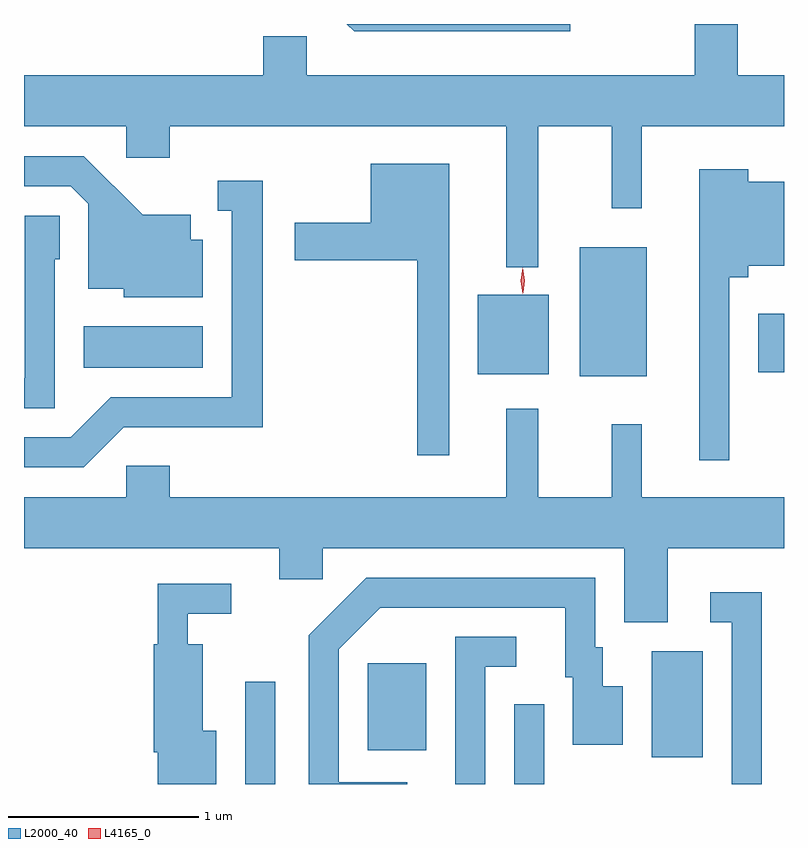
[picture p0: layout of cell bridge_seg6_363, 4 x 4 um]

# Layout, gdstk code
import gdstk
lib = gdstk.Library(unit=1e-6, precision=1e-09)
def R(c, l, rs):  # rectangles x0, y0, x1, y1
    for r in rs: c.add(gdstk.rectangle(r[:2], r[2:], *l))
def P(c, l, *ps):  # polygons
    for p in ps: c.add(gdstk.Polygon(p, *l))
L2000_40 = (2000, 40)
L4165_0 = (4165, 0)

bridge_seg6_363 = lib.new_cell('bridge_seg6_363')
R(bridge_seg6_363, L2000_40, [(1006.436,1622.054,1006.594,1622.593), (1007.851,1622.054,1008.009,1622.473), (1008.576,1622.196,1008.844,1622.754), (1007.081,1622.231,1007.389,1622.689), (1008.196,1624.201,1008.549,1624.879), (1007.661,1624.211,1008.034,1624.629), (1009.136,1624.221,1009.272,1624.529), (1005.586,1624.246,1006.214,1624.464)])
P(bridge_seg6_363, L2000_40, [(1007.979,1625.516),(1008.366,1625.516),(1008.366,1625.083),(1008.524,1625.083),(1008.524,1625.516),(1009.272,1625.516),(1009.272,1625.784),(1009.029,1625.784),(1009.029,1626.054),(1008.801,1626.054),(1008.801,1625.784),(1006.759,1625.784),(1006.759,1625.989),(1006.531,1625.989),(1006.531,1625.784),(1005.272,1625.784),(1005.272,1625.516),(1005.811,1625.516),(1005.811,1625.351),(1006.039,1625.351),(1006.039,1625.516),(1007.811,1625.516),(1007.811,1624.773),(1007.979,1624.773)],
  [(1008.148,1626.054),(1006.971,1626.054),(1007.009,1626.016),(1008.148,1626.016)],
  [(1006.214,1624.919),(1006.149,1624.919),(1006.149,1625.049),(1005.897,1625.049),(1005.587,1625.359),(1005.272,1625.359),(1005.272,1625.201),(1005.519,1625.201),(1005.611,1625.109),(1005.611,1624.661),(1005.796,1624.661),(1005.796,1624.616),(1006.214,1624.616)],
  [(1007.509,1625.319),(1007.096,1625.319),(1007.096,1625.009),(1006.696,1625.009),(1006.696,1624.811),(1007.341,1624.811),(1007.341,1623.783),(1007.509,1623.783)],
  [(1008.984,1624.721),(1009.084,1624.721),(1009.084,1624.781),(1009.272,1624.781),(1009.272,1625.224),(1009.084,1625.224),(1009.084,1625.289),(1008.826,1625.289),(1008.826,1623.758),(1008.984,1623.758)],
  [(1005.797,1623.931),(1006.529,1623.931),(1006.529,1625.229),(1006.293,1625.229),(1006.293,1625.071),(1006.366,1625.071),(1006.366,1624.089),(1005.729,1624.089),(1005.519,1623.879),(1005.272,1623.879),(1005.272,1623.721),(1005.587,1623.721)],
  [(1005.434,1624.816),(1005.459,1624.816),(1005.459,1625.044),(1005.276,1625.044),(1005.276,1624.189),(1005.272,1624.189),(1005.272,1624.031),(1005.434,1624.031)],
  [(1008.659,1623.296),(1009.272,1623.296),(1009.272,1623.564),(1008.524,1623.564),(1008.524,1623.948),(1008.366,1623.948),(1008.366,1623.564),(1007.979,1623.564),(1007.979,1624.028),(1007.811,1624.028),(1007.811,1623.564),(1006.039,1623.564),(1006.039,1623.729),(1005.811,1623.729),(1005.811,1623.564),(1005.272,1623.564),(1005.272,1623.296),(1006.616,1623.296),(1006.616,1623.131),(1006.844,1623.131),(1006.844,1623.296),(1008.431,1623.296),(1008.431,1622.906),(1008.659,1622.906)],
  [(1007.288,1622.064),(1006.929,1622.064),(1006.929,1622.764),(1007.147,1622.981),(1008.121,1622.981),(1008.121,1622.616),(1008.161,1622.616),(1008.161,1622.261),(1008.424,1622.261),(1008.424,1622.569),(1008.319,1622.569),(1008.319,1622.774),(1008.279,1622.774),(1008.279,1623.139),(1007.074,1623.139),(1006.771,1622.837),(1006.771,1622.054),(1007.288,1622.054)],
  [(1006.284,1622.334),(1006.214,1622.334),(1006.214,1622.789),(1006.134,1622.789),(1006.134,1622.951),(1006.363,1622.951),(1006.363,1623.109),(1005.976,1623.109),(1005.976,1622.789),(1005.956,1622.789),(1005.956,1622.221),(1005.976,1622.221),(1005.976,1622.054),(1006.284,1622.054)],
  [(1009.154,1623.064),(1008.883,1623.064),(1008.883,1622.906),(1008.996,1622.906),(1008.996,1622.054),(1009.154,1622.054)],
  [(1007.699,1622.671),(1007.863,1622.671),(1007.863,1622.829),(1007.541,1622.829),(1007.541,1622.054),(1007.699,1622.054)])
P(bridge_seg6_363, L4165_0, [(1007.896,1624.634),(1007.887,1624.702),(1007.896,1624.77),(1007.897,1624.77),(1007.897,1624.77),(1007.907,1624.702),(1007.897,1624.634),(1007.897,1624.634)],
  [(1007.898,1624.638),(1007.898,1624.639),(1007.888,1624.703),(1007.897,1624.767),(1007.898,1624.767),(1007.898,1624.767),(1007.908,1624.703),(1007.899,1624.639)])

lib.write_gds('bridge_seg6_363.gds')
